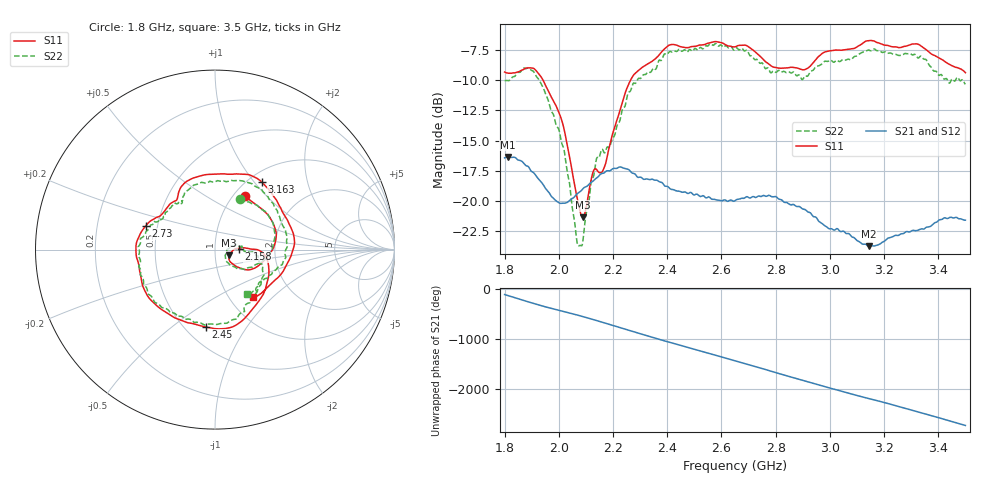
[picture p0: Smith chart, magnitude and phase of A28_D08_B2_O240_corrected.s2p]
! Created with skrf 1.9.0 (http://scikit-rf.org).
# Hz S RI R 50.0
!freq ReS11 ImS11 ReS21 ImS21 ReS12 ImS12 ReS22 ImS22
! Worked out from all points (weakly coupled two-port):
!   1601 points, 1.8 GHz to 3.5 GHz, reference 50 ohm
!   highest |S21| = -16.35 dB at 1.812 GHz (marker M1); lowest = -23.7 dB at 3.144 GHz (marker M2)
!   lowest |S11| = -21.3 dB at 2.089 GHz (marker M3), VSWR 1.19, Z = 58.5 - j3.69 ohm
!   |S11| at or under -10 dB: 1.941 GHz to 2.265 GHz (323.4 MHz wide, 15.4 % of centre)
!   |S22| runs from -23.7 to -7.0 dB; largest |S21 - S12| = 0.0029
!   S11 on the Smith chart (normalised r, x): 1.8 GHz: 1.12, +0.76; 2.158 GHz: 1.30, +0.01; 2.45 GHz: 0.63, -0.67; 2.73 GHz: 0.43, +0.14; 3.163 GHz: 1.15, +1.10; 3.5 GHz: 1.27, -0.77
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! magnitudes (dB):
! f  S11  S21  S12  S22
! 1.8 GHz  -9.3  -16.4  -16.4  -10.0
! 1.812 GHz  -9.4  -16.4  -16.4  -10.0
! 1.887 GHz  -9.0  -17.2  -17.2  -9.0
! 1.94 GHz  -10.0  -18.6  -18.6  -10.5
! 2.013 GHz  -13.5  -20.2  -20.2  -15.3
! 2.067 GHz  -19.7  -19.4  -19.4  -23.3
! 2.084 GHz  -21.2  -19.1  -19.1  -23.7
! 2.089 GHz  -21.3  -19.0  -19.0  -23.3
! 2.127 GHz  -17.5  -18.3  -18.3  -18.0
! 2.158 GHz  -17.6  -17.7  -17.7  -15.7
! 2.194 GHz  -14.8  -17.4  -17.4  -15.0
! 2.262 GHz  -10.1  -17.5  -17.5  -11.0
! 2.367 GHz  -8.0  -18.4  -18.3  -8.5
! 2.45 GHz  -7.3  -19.2  -19.2  -7.6
! 2.65 GHz  -7.3  -20.0  -19.9  -7.5
! 2.73 GHz  -7.8  -19.7  -19.7  -8.3
! 2.934 GHz  -8.7  -21.1  -21.1  -9.2
! 3.144 GHz  -6.7  -23.7  -23.7  -7.5
! 3.163 GHz  -6.8  -23.7  -23.7  -7.4
! 3.217 GHz  -7.2  -23.0  -23.0  -7.8
! 3.326 GHz  -7.0  -22.4  -22.4  -8.2
! 3.5 GHz  -9.4  -21.6  -21.6  -10.4
